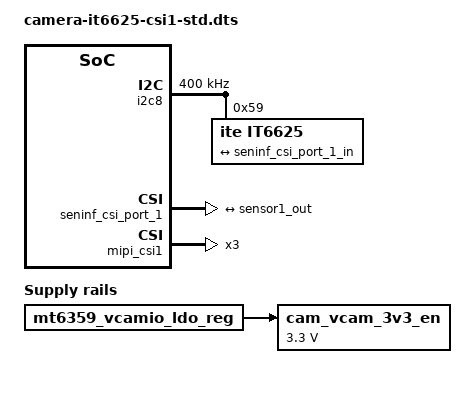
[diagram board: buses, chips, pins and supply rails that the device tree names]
// SPDX-License-Identifier: GPL-2.0
/*
 * Copyright (c) 2025 MediaTek Inc.
 *
 */

#include <dt-bindings/clock/mediatek,mt8189-clk.h>
#include <dt-bindings/gpio/gpio.h>
#include <dt-bindings/pinctrl/mt8189-pinfunc.h>
#include <dt-bindings/interrupt-controller/irq.h>
#include <dt-bindings/phy/phy.h>

/dts-v1/;
/plugin/;

/ {
	fragment@1 {
		target-path = "/";
		__overlay__ {
			cam_vcam_3v3_en: cam-vcam-3v3-en-regulator {
				compatible = "regulator-fixed";
				regulator-name = "cam_vcam_3v3_en";
				regulator-min-microvolt = <3300000>;
				regulator-max-microvolt = <3300000>;
				enable-active-high;
				vin-supply = <&mt6359_vcamio_ldo_reg>;
				regulator-always-on;
				regulator-boot-on;
			};
		};
	};

	fragment@2 {
		target = <&pio>;
		__overlay__ {
			cam1_default_pins_int: cam1@2 {
				pins-cmd-dat {
					pinmux = <PINMUX_GPIO103__FUNC_GPIO103>;
				};
			};
		};
	};

	fragment@3 {
		target = <&i2c8>;
		__overlay__ {
			clock-frequency = <400000>;

			it6625@59 {
				compatible = "ite,it6625";
				reg = <0x59>;
				interrupts = <&pio 103 IRQ_TYPE_LEVEL_LOW>; /* GPIO 103, low active */
				ite,dsi-lanes = <2>;
				ite,dsi-channel = <1>;

				pinctrl-names = "default";
				pinctrl-0 = <&cam1_default_pins_int>;

				port {
					sensor1_out: endpoint {
						remote-endpoint = <&seninf_csi_port_1_in>;
						data-lanes = <1 2 3 4>;
					};
				};
			};
		};
	};

	fragment@4 {
		target = <&seninf_csi_port_1>;
		__overlay__ {
			status = "okay";
			ports {
				port@0 {
					seninf_csi_port_1_in: endpoint {
						data-lanes = <1 2 3 4>;
						remote-endpoint = <&sensor1_out>;
					};
				};
			};
		};
	};

	fragment@5 {
		target = <&mipi_csi1>;
		__overlay__ {
			status = "okay";
			phy-type = <PHY_TYPE_CPHY>;
			num-lanes = <3>;
			csi-port = "1";
		};
	};
};
